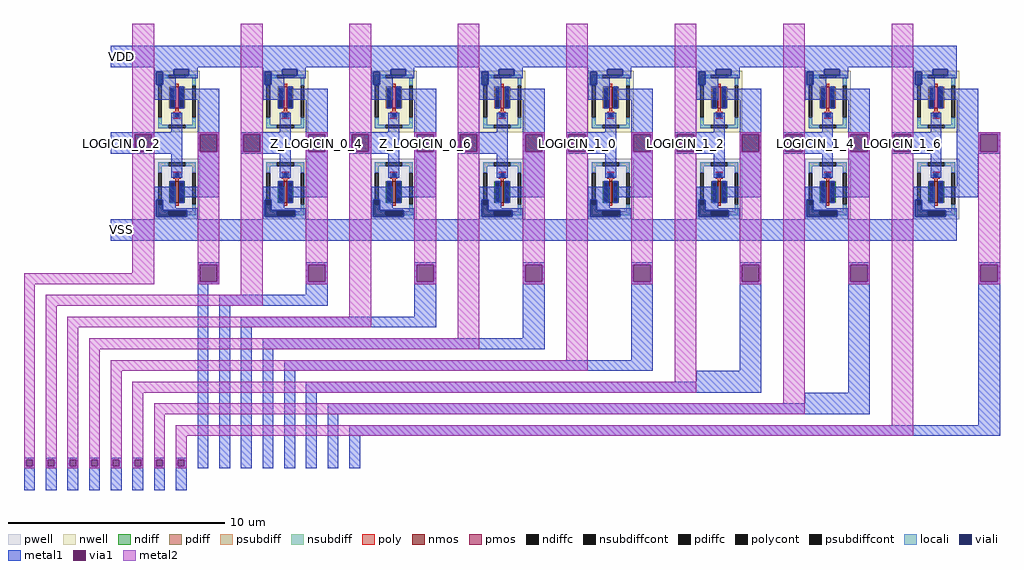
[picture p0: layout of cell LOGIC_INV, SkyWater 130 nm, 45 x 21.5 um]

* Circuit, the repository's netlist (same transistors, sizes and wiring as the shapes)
** sch_path: /home/ttuser/tt_analog_z2a/xschem/LOGIC_INV.sch
.subckt LOGIC_INV LOGICIN_1_6 Z_LOGICIN_1_6 Z_LOGICIN_1_4 LOGICIN_1_4 LOGICIN_1_2 Z_LOGICIN_1_2 LOGICIN_1_0 Z_LOGICIN_1_0
+ Z_LOGICIN_0_8 LOGICIN_0_8 Z_LOGICIN_0_6 LOGICIN_0_6 LOGICIN_0_4 Z_LOGICIN_0_4 LOGICIN_0_2 Z_LOGICIN_0_2 VDD VSS
*.PININFO Z_LOGICIN_0_2:O LOGICIN_0_2:I LOGICIN_0_4:I LOGICIN_0_6:I LOGICIN_0_8:I LOGICIN_1_0:I LOGICIN_1_2:I LOGICIN_1_4:I
*+ LOGICIN_1_6:I Z_LOGICIN_0_4:O Z_LOGICIN_0_6:O Z_LOGICIN_0_8:O Z_LOGICIN_1_0:O Z_LOGICIN_1_2:O Z_LOGICIN_1_4:O Z_LOGICIN_1_6:O VDD:B VSS:B
x28 VDD VSS Z_LOGICIN_0_2 LOGICIN_0_2 inv_x1
x1 VDD VSS Z_LOGICIN_0_4 LOGICIN_0_4 inv_x1
x2 VDD VSS Z_LOGICIN_0_6 LOGICIN_0_6 inv_x1
x3 VDD VSS Z_LOGICIN_0_8 LOGICIN_0_8 inv_x1
x4 VDD VSS Z_LOGICIN_1_0 LOGICIN_1_0 inv_x1
x5 VDD VSS Z_LOGICIN_1_2 LOGICIN_1_2 inv_x1
x6 VDD VSS Z_LOGICIN_1_4 LOGICIN_1_4 inv_x1
x7 VDD VSS Z_LOGICIN_1_6 LOGICIN_1_6 inv_x1
.ends

* expanding   symbol:  inv_x1.sym # of pins=4
** sym_path: /home/ttuser/tt_analog_z2a/xschem/inv_x1.sym
** sch_path: /home/ttuser/tt_analog_z2a/xschem/inv_x1.sch
.subckt inv_x1 VDD VSS INV_OUT INV_IN
*.PININFO INV_IN:I INV_OUT:O VDD:B VSS:B
XM3 INV_OUT INV_IN VDD VDD sky130_fd_pr__pfet_01v8 L=0.15 W=1 nf=1 m=1
XM5 INV_OUT INV_IN VSS VSS sky130_fd_pr__nfet_01v8 L=0.15 W=1 nf=1 m=1
.ends

.end

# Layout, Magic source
magic
tech sky130A
<< metal1 >>
rect 200 -2900 3900 -2800
rect 200 -3300 300 -3200
rect 600 -3210 700 -3200
rect 600 -3290 610 -3210
rect 690 -3290 700 -3210
rect 600 -3300 700 -3290
rect 800 -3210 900 -3200
rect 800 -3290 810 -3210
rect 890 -3290 900 -3210
rect 800 -3300 900 -3290
rect 1100 -3210 1200 -3200
rect 1100 -3290 1110 -3210
rect 1190 -3290 1200 -3210
rect 1100 -3300 1200 -3290
rect 1300 -3210 1400 -3200
rect 1300 -3290 1310 -3210
rect 1390 -3290 1400 -3210
rect 1300 -3300 1400 -3290
rect 1600 -3210 1700 -3200
rect 1600 -3290 1610 -3210
rect 1690 -3290 1700 -3210
rect 1600 -3300 1700 -3290
rect 1800 -3210 1900 -3200
rect 1800 -3290 1810 -3210
rect 1890 -3290 1900 -3210
rect 1800 -3300 1900 -3290
rect 2100 -3210 2200 -3200
rect 2100 -3290 2110 -3210
rect 2190 -3290 2200 -3210
rect 2100 -3300 2200 -3290
rect 2300 -3210 2400 -3200
rect 2300 -3290 2310 -3210
rect 2390 -3290 2400 -3210
rect 2300 -3300 2400 -3290
rect 2600 -3210 2700 -3200
rect 2600 -3290 2610 -3210
rect 2690 -3290 2700 -3210
rect 2600 -3300 2700 -3290
rect 2800 -3210 2900 -3200
rect 2800 -3290 2810 -3210
rect 2890 -3290 2900 -3210
rect 2800 -3300 2900 -3290
rect 3100 -3210 3200 -3200
rect 3100 -3290 3110 -3210
rect 3190 -3290 3200 -3210
rect 3100 -3300 3200 -3290
rect 3400 -3300 3500 -3200
rect 3600 -3210 3700 -3200
rect 3600 -3290 3610 -3210
rect 3690 -3290 3700 -3210
rect 3600 -3300 3700 -3290
rect 3800 -3210 3900 -3200
rect 3800 -3290 3810 -3210
rect 3890 -3290 3900 -3210
rect 3800 -3300 3900 -3290
rect 4200 -3210 4300 -3200
rect 4200 -3290 4210 -3210
rect 4290 -3290 4300 -3210
rect 4200 -3300 4300 -3290
rect 200 -3700 300 -3600
rect 400 -3700 800 -3600
rect 900 -3700 1300 -3600
rect 1400 -3700 1800 -3600
rect 1900 -3700 2300 -3600
rect 2400 -3700 2800 -3600
rect 2900 -3700 3300 -3600
rect 3400 -3700 3800 -3600
rect 600 -3810 700 -3800
rect 600 -3890 610 -3810
rect 690 -3890 700 -3810
rect 600 -3900 700 -3890
rect 1100 -3810 1200 -3800
rect 1100 -3890 1110 -3810
rect 1190 -3890 1200 -3810
rect -200 -4710 -150 -4700
rect -200 -4740 -190 -4710
rect -160 -4740 -150 -4710
rect -200 -4850 -150 -4740
rect -100 -4710 -50 -4700
rect -100 -4740 -90 -4710
rect -60 -4740 -50 -4710
rect -100 -4850 -50 -4740
rect 0 -4710 50 -4700
rect 0 -4740 10 -4710
rect 40 -4740 50 -4710
rect 0 -4850 50 -4740
rect 100 -4710 150 -4700
rect 100 -4740 110 -4710
rect 140 -4740 150 -4710
rect 100 -4850 150 -4740
rect 200 -4710 250 -4700
rect 200 -4740 210 -4710
rect 240 -4740 250 -4710
rect 200 -4850 250 -4740
rect 300 -4710 350 -4700
rect 300 -4740 310 -4710
rect 340 -4740 350 -4710
rect 300 -4850 350 -4740
rect 400 -4710 450 -4700
rect 400 -4740 410 -4710
rect 440 -4740 450 -4710
rect 400 -4850 450 -4740
rect 500 -4710 550 -4700
rect 500 -4740 510 -4710
rect 540 -4740 550 -4710
rect 500 -4850 550 -4740
rect 600 -4750 650 -3900
rect 1100 -3950 1200 -3890
rect 700 -4000 1200 -3950
rect 1600 -3810 1700 -3800
rect 1600 -3890 1610 -3810
rect 1690 -3890 1700 -3810
rect 700 -4750 750 -4000
rect 1600 -4050 1700 -3890
rect 800 -4100 1700 -4050
rect 2100 -3810 2200 -3800
rect 2100 -3890 2110 -3810
rect 2190 -3890 2200 -3810
rect 800 -4750 850 -4100
rect 2100 -4150 2200 -3890
rect 900 -4200 2200 -4150
rect 2600 -3810 2700 -3800
rect 2600 -3890 2610 -3810
rect 2690 -3890 2700 -3810
rect 900 -4750 950 -4200
rect 2600 -4250 2700 -3890
rect 1000 -4300 2700 -4250
rect 3100 -3810 3200 -3800
rect 3100 -3890 3110 -3810
rect 3190 -3890 3200 -3810
rect 3100 -4300 3200 -3890
rect 1000 -4750 1050 -4300
rect 2900 -4350 3200 -4300
rect 1100 -4400 3200 -4350
rect 3600 -3810 3700 -3800
rect 3600 -3890 3610 -3810
rect 3690 -3890 3700 -3810
rect 3600 -4400 3700 -3890
rect 1100 -4750 1150 -4400
rect 3400 -4450 3700 -4400
rect 1200 -4500 3700 -4450
rect 4200 -3810 4300 -3800
rect 4200 -3890 4210 -3810
rect 4290 -3890 4300 -3810
rect 1200 -4750 1250 -4500
rect 4200 -4550 4300 -3890
rect 1300 -4600 4300 -4550
rect 1300 -4750 1350 -4600
<< via1 >>
rect 310 -3290 390 -3210
rect 610 -3290 690 -3210
rect 810 -3290 890 -3210
rect 1110 -3290 1190 -3210
rect 1310 -3290 1390 -3210
rect 1610 -3290 1690 -3210
rect 1810 -3290 1890 -3210
rect 2110 -3290 2190 -3210
rect 2310 -3290 2390 -3210
rect 2610 -3290 2690 -3210
rect 2810 -3290 2890 -3210
rect 3110 -3290 3190 -3210
rect 3310 -3290 3390 -3210
rect 3610 -3290 3690 -3210
rect 3810 -3290 3890 -3210
rect 4210 -3290 4290 -3210
rect 610 -3890 690 -3810
rect 1110 -3890 1190 -3810
rect -190 -4740 -160 -4710
rect -90 -4740 -60 -4710
rect 10 -4740 40 -4710
rect 110 -4740 140 -4710
rect 210 -4740 240 -4710
rect 310 -4740 340 -4710
rect 410 -4740 440 -4710
rect 510 -4740 540 -4710
rect 1610 -3890 1690 -3810
rect 2110 -3890 2190 -3810
rect 2610 -3890 2690 -3810
rect 3110 -3890 3190 -3810
rect 3610 -3890 3690 -3810
rect 4210 -3890 4290 -3810
<< metal2 >>
rect 300 -3210 400 -2700
rect 300 -3290 310 -3210
rect 390 -3290 400 -3210
rect 300 -3850 400 -3290
rect -200 -3900 400 -3850
rect 600 -3210 700 -3200
rect 600 -3290 610 -3210
rect 690 -3290 700 -3210
rect 600 -3810 700 -3290
rect 600 -3890 610 -3810
rect 690 -3890 700 -3810
rect 600 -3900 700 -3890
rect 800 -3210 900 -2700
rect 800 -3290 810 -3210
rect 890 -3290 900 -3210
rect -200 -4710 -150 -3900
rect 800 -3950 900 -3290
rect 1100 -3210 1200 -3200
rect 1100 -3290 1110 -3210
rect 1190 -3290 1200 -3210
rect 1100 -3810 1200 -3290
rect 1100 -3890 1110 -3810
rect 1190 -3890 1200 -3810
rect 1100 -3900 1200 -3890
rect 1300 -3210 1400 -2700
rect 1300 -3290 1310 -3210
rect 1390 -3290 1400 -3210
rect -200 -4740 -190 -4710
rect -160 -4740 -150 -4710
rect -200 -4750 -150 -4740
rect -100 -4000 900 -3950
rect -100 -4710 -50 -4000
rect 1300 -4050 1400 -3290
rect 1600 -3210 1700 -3200
rect 1600 -3290 1610 -3210
rect 1690 -3290 1700 -3210
rect 1600 -3810 1700 -3290
rect 1600 -3890 1610 -3810
rect 1690 -3890 1700 -3810
rect 1600 -3900 1700 -3890
rect 1800 -3210 1900 -2700
rect 1800 -3290 1810 -3210
rect 1890 -3290 1900 -3210
rect -100 -4740 -90 -4710
rect -60 -4740 -50 -4710
rect -100 -4750 -50 -4740
rect 0 -4100 1400 -4050
rect 0 -4710 50 -4100
rect 1800 -4150 1900 -3290
rect 2100 -3210 2200 -3200
rect 2100 -3290 2110 -3210
rect 2190 -3290 2200 -3210
rect 2100 -3810 2200 -3290
rect 2100 -3890 2110 -3810
rect 2190 -3890 2200 -3810
rect 2100 -3900 2200 -3890
rect 2300 -3210 2400 -2700
rect 2300 -3290 2310 -3210
rect 2390 -3290 2400 -3210
rect 0 -4740 10 -4710
rect 40 -4740 50 -4710
rect 0 -4750 50 -4740
rect 100 -4200 1900 -4150
rect 100 -4710 150 -4200
rect 2300 -4250 2400 -3290
rect 2600 -3210 2700 -3200
rect 2600 -3290 2610 -3210
rect 2690 -3290 2700 -3210
rect 2600 -3810 2700 -3290
rect 2600 -3890 2610 -3810
rect 2690 -3890 2700 -3810
rect 2600 -3900 2700 -3890
rect 2800 -3210 2900 -2700
rect 2800 -3290 2810 -3210
rect 2890 -3290 2900 -3210
rect 100 -4740 110 -4710
rect 140 -4740 150 -4710
rect 100 -4750 150 -4740
rect 200 -4300 2400 -4250
rect 200 -4710 250 -4300
rect 2800 -4350 2900 -3290
rect 3100 -3210 3200 -3200
rect 3100 -3290 3110 -3210
rect 3190 -3290 3200 -3210
rect 3100 -3810 3200 -3290
rect 3100 -3890 3110 -3810
rect 3190 -3890 3200 -3810
rect 3100 -3900 3200 -3890
rect 3300 -3210 3400 -2700
rect 3300 -3290 3310 -3210
rect 3390 -3290 3400 -3210
rect 200 -4740 210 -4710
rect 240 -4740 250 -4710
rect 200 -4750 250 -4740
rect 300 -4400 2900 -4350
rect 300 -4710 350 -4400
rect 3300 -4450 3400 -3290
rect 3600 -3210 3700 -3200
rect 3600 -3290 3610 -3210
rect 3690 -3290 3700 -3210
rect 3600 -3810 3700 -3290
rect 3600 -3890 3610 -3810
rect 3690 -3890 3700 -3810
rect 3600 -3900 3700 -3890
rect 3800 -3210 3900 -2700
rect 3800 -3290 3810 -3210
rect 3890 -3290 3900 -3210
rect 300 -4740 310 -4710
rect 340 -4740 350 -4710
rect 300 -4750 350 -4740
rect 400 -4500 3400 -4450
rect 400 -4710 450 -4500
rect 3800 -4550 3900 -3290
rect 4200 -3210 4300 -3200
rect 4200 -3290 4210 -3210
rect 4290 -3290 4300 -3210
rect 4200 -3810 4300 -3290
rect 4200 -3890 4210 -3810
rect 4290 -3890 4300 -3810
rect 4200 -3900 4300 -3890
rect 400 -4740 410 -4710
rect 440 -4740 450 -4710
rect 400 -4750 450 -4740
rect 500 -4600 3900 -4550
rect 500 -4710 550 -4600
rect 500 -4740 510 -4710
rect 540 -4740 550 -4710
rect 500 -4750 550 -4740
use inv_x1  x1 ~/tt_analog_z2a_2/mag
transform 1 0 200 0 1 -3000
box 100 -700 500 200
use inv_x1  x2
transform 1 0 700 0 1 -3000
box 100 -700 500 200
use inv_x1  x3
transform 1 0 1200 0 1 -3000
box 100 -700 500 200
use inv_x1  x4
transform 1 0 1700 0 1 -3000
box 100 -700 500 200
use inv_x1  x5
transform 1 0 2200 0 1 -3000
box 100 -700 500 200
use inv_x1  x6
transform 1 0 2700 0 1 -3000
box 100 -700 500 200
use inv_x1  x7
transform 1 0 3200 0 1 -3000
box 100 -700 500 200
use inv_x1  x28
transform 1 0 3700 0 1 -3000
box 100 -700 500 200
<< labels >>
flabel metal1 200 -3700 300 -3600 0 FreeSans 128 0 0 0 VSS
port 18 nsew
flabel metal1 200 -2900 300 -2800 0 FreeSans 128 0 0 0 VDD
port 17 nsew
flabel metal1 200 -3300 300 -3200 0 FreeSans 128 0 0 0 LOGICIN_0_2
port 15 nsew
flabel metal1 600 -3300 700 -3200 0 FreeSans 128 0 0 0 Z_LOGICIN_0_2
port 16 nsew
flabel metal1 1100 -3300 1200 -3200 0 FreeSans 128 0 0 0 Z_LOGICIN_0_4
port 14 nsew
flabel metal1 800 -3300 900 -3200 0 FreeSans 128 0 0 0 LOGICIN_0_4
port 13 nsew
flabel metal1 1300 -3300 1400 -3200 0 FreeSans 128 0 0 0 LOGICIN_0_6
port 12 nsew
flabel metal1 3800 -3300 3900 -3200 0 FreeSans 128 0 0 0 LOGICIN_1_6
port 0 nsew
flabel metal1 3600 -3300 3700 -3200 0 FreeSans 128 0 0 0 Z_LOGICIN_1_4
port 2 nsew
flabel metal1 3400 -3300 3500 -3200 0 FreeSans 128 0 0 0 LOGICIN_1_4
port 3 nsew
flabel metal1 2800 -3300 2900 -3200 0 FreeSans 128 0 0 0 LOGICIN_1_2
port 4 nsew
flabel metal1 3100 -3300 3200 -3200 0 FreeSans 128 0 0 0 Z_LOGICIN_1_2
port 5 nsew
flabel metal1 2300 -3300 2400 -3200 0 FreeSans 128 0 0 0 LOGICIN_1_0
port 6 nsew
flabel metal1 2600 -3300 2700 -3200 0 FreeSans 128 0 0 0 Z_LOGICIN_1_0
port 7 nsew
flabel metal1 2100 -3300 2200 -3200 0 FreeSans 128 0 0 0 Z_LOGICIN_0_8
port 9 nsew
flabel metal1 1600 -3300 1700 -3200 0 FreeSans 128 0 0 0 Z_LOGICIN_0_6
port 11 nsew
flabel metal1 1800 -3300 1900 -3200 0 FreeSans 128 0 0 0 LOGICIN_0_8
port 10 nsew
flabel metal1 4200 -3300 4300 -3200 0 FreeSans 128 0 0 0 Z_LOGICIN_1_6
port 1 nsew
<< end >>

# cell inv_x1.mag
magic
tech sky130A
magscale 1 2
<< viali >>
rect 420 40 480 160
rect 580 120 720 180
rect 420 -1120 480 -1020
rect 420 -1180 700 -1120
<< metal1 >>
rect 200 200 800 400
rect 400 180 800 200
rect 400 160 580 180
rect 400 40 420 160
rect 480 120 580 160
rect 720 120 800 180
rect 480 100 800 120
rect 480 40 600 100
rect 400 -100 600 40
rect 640 -100 1000 0
rect 560 -400 660 -220
rect 200 -600 660 -400
rect 560 -820 660 -600
rect 800 -900 1000 -100
rect 400 -1020 600 -900
rect 640 -1000 1000 -900
rect 400 -1180 420 -1020
rect 480 -1100 600 -1020
rect 480 -1120 800 -1100
rect 700 -1180 800 -1120
rect 400 -1200 800 -1180
rect 200 -1400 800 -1200
use sky130_fd_pr__pfet_01v8_LGS3BL  XM3
transform 1 0 611 0 1 -116
box -211 -284 211 284
use sky130_fd_pr__nfet_01v8_64Z3AY  XM5
transform 1 0 611 0 1 -921
box -211 -279 211 279
<< labels >>
flabel metal1 800 -600 1000 -400 0 FreeSans 256 0 0 0 INV_OUT
port 2 nsew
flabel metal1 200 -600 400 -400 0 FreeSans 256 0 0 0 INV_IN
port 3 nsew
flabel metal1 200 -1400 400 -1200 0 FreeSans 256 0 0 0 VSS
port 1 nsew
flabel metal1 200 200 400 400 0 FreeSans 256 0 0 0 VDD
port 0 nsew
<< end >>

# cell sky130_fd_pr__pfet_01v8_LGS3BL: kit device sky130_fd_pr__pfet_01v8, w 1.0 l 0.15 m 1 nf 1 diffcov 100 polycov 100 guard 1 glc 1 grc 1 gtc 1 gbc 1 tbcov 100 rlcov 100 topc 0 botc 1 poverlap 0 doverlap 1 lmin 0.15 wmin 0.42 compatible {sky130_fd_pr__pfet_01v8 sky130_fd_pr__pfet_01v8_lvt sky130_fd_pr__pfet_01v8_hvt sky130_fd_pr__pfet_g5v0d10v5} full_metal 1 viasrc 100 viadrn 100 viagate 100 viagb 0 viagr 0 viagl 0 viagt 0

# cell sky130_fd_pr__nfet_01v8_64Z3AY: kit device sky130_fd_pr__nfet_01v8, w 1.0 l 0.15 m 1 nf 1 diffcov 100 polycov 100 guard 1 glc 1 grc 1 gtc 1 gbc 1 tbcov 100 rlcov 100 topc 1 botc 0 poverlap 0 doverlap 1 lmin 0.15 wmin 0.42 compatible {sky130_fd_pr__nfet_01v8 sky130_fd_pr__nfet_01v8_lvt sky130_fd_bs_flash__special_sonosfet_star sky130_fd_pr__nfet_g5v0d10v5 sky130_fd_pr__nfet_05v0_nvt sky130_fd_pr__nfet_03v3_nvt} full_metal 1 viasrc 100 viadrn 100 viagate 100 viagb 0 viagr 0 viagl 0 viagt 0
